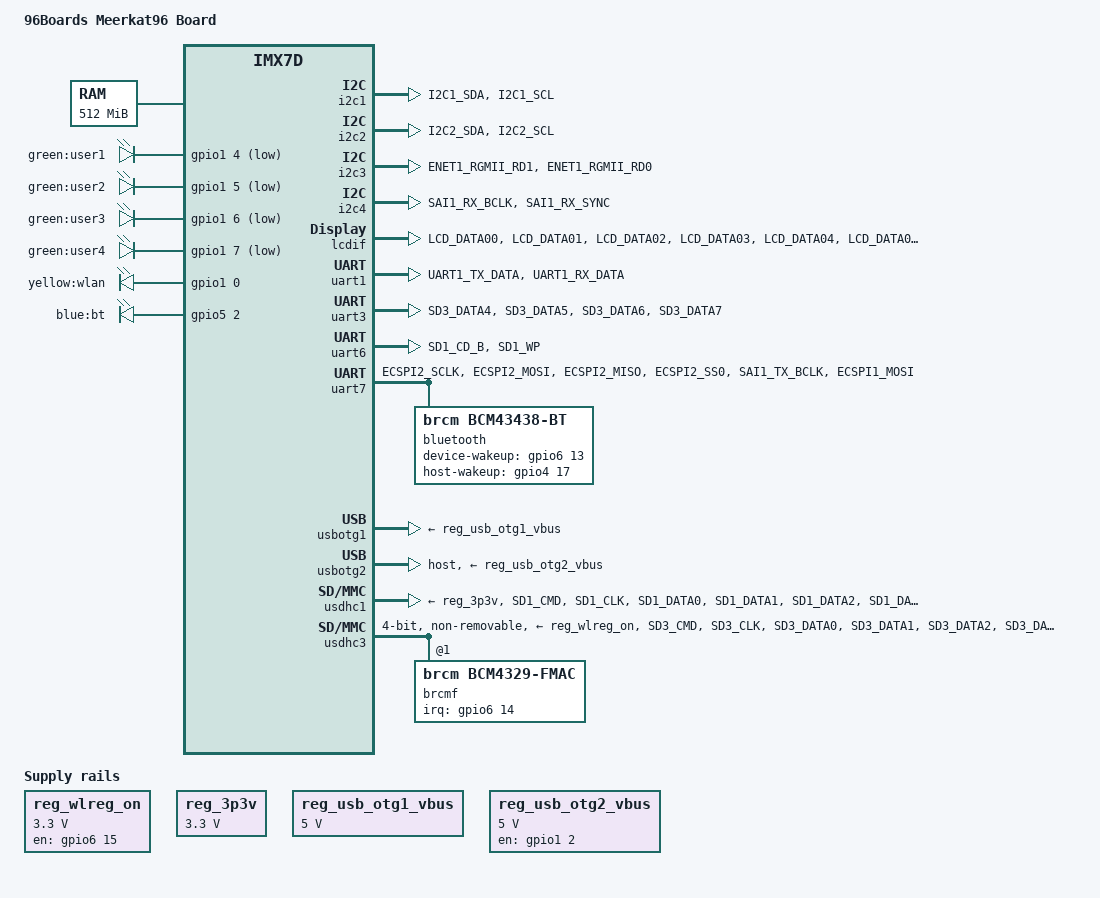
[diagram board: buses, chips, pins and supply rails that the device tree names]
// SPDX-License-Identifier: GPL-2.0+ OR MIT
/*
 * Copyright (C) 2019 Linaro Ltd.
 */

/dts-v1/;

#include "imx7d.dtsi"

/ {
	model = "96Boards Meerkat96 Board";
	compatible = "novtech,imx7d-meerkat96", "fsl,imx7d";

	chosen {
		stdout-path = &uart6;
	};

	memory@80000000 {
		device_type = "memory";
		reg = <0x80000000 0x20000000>; /* 512MB */
	};

	reg_wlreg_on: regulator-wlreg-on {
		compatible = "regulator-fixed";
		pinctrl-names = "default";
		pinctrl-0 = <&pinctrl_wlreg_on>;
		regulator-name = "wlreg_on";
		regulator-min-microvolt = <3300000>;
		regulator-max-microvolt = <3300000>;
		startup-delay-us = <100>;
		gpio = <&gpio6 15 GPIO_ACTIVE_HIGH>;
		enable-active-high;
		regulator-always-on;
	};

	reg_3p3v: regulator-3p3v {
		compatible = "regulator-fixed";
		regulator-name = "3P3V";
		regulator-min-microvolt = <3300000>;
		regulator-max-microvolt = <3300000>;
		regulator-always-on;
	};

	reg_usb_otg1_vbus: regulator-usb-otg1-vbus {
		compatible = "regulator-fixed";
		regulator-name = "usb_otg1_vbus";
		regulator-min-microvolt = <5000000>;
		regulator-max-microvolt = <5000000>;
	};

	reg_usb_otg2_vbus: regulator-usb-otg2-vbus {
		compatible = "regulator-fixed";
		regulator-name = "usb_otg2_vbus";
		regulator-min-microvolt = <5000000>;
		regulator-max-microvolt = <5000000>;
		gpio = <&gpio1 2 GPIO_ACTIVE_HIGH>;
		enable-active-high;
	};

	leds {
		compatible = "gpio-leds";
		pinctrl-names = "default";
		pinctrl-0 = <&pinctrl_gpio_leds>;

		led1 {
			label = "green:user1";
			gpios = <&gpio1 4 GPIO_ACTIVE_LOW>;
			linux,default-trigger = "heartbeat";
			default-state = "off";
		};

		led2 {
			label = "green:user2";
			gpios = <&gpio1 5 GPIO_ACTIVE_LOW>;
			linux,default-trigger = "mmc0";
			default-state = "off";
		};

		led3 {
			label = "green:user3";
			gpios = <&gpio1 6 GPIO_ACTIVE_LOW>;
			linux,default-trigger = "mmc1";
			default-state = "off";
		};

		led4 {
			label = "green:user4";
			gpios = <&gpio1 7 GPIO_ACTIVE_LOW>;
			linux,default-trigger = "none";
			default-state = "off";
			panic-indicator;
		};

		led5 {
			label = "yellow:wlan";
			gpios = <&gpio1 0 GPIO_ACTIVE_HIGH>;
			linux,default-trigger = "phy0tx";
			default-state = "off";
		};

		led6 {
			label = "blue:bt";
			gpios = <&gpio5 2 GPIO_ACTIVE_HIGH>;
			linux,default-trigger = "bluetooth-power";
			default-state = "off";
		};
	};
};

&i2c1 {
	pinctrl-names = "default";
	pinctrl-0 = <&pinctrl_i2c1>;
	status = "okay";
};

&i2c2 {
	pinctrl-names = "default";
	pinctrl-0 = <&pinctrl_i2c2>;
	status = "okay";
};

&i2c3 {
	pinctrl-names = "default";
	pinctrl-0 = <&pinctrl_i2c3>;
	status = "okay";
};

&i2c4 {
	pinctrl-names = "default";
	pinctrl-0 = <&pinctrl_i2c4>;
	status = "okay";
};

&lcdif {
	pinctrl-names = "default";
	pinctrl-0 = <&pinctrl_lcdif>;
	status = "okay";
};

&uart1 {
	pinctrl-names = "default";
	pinctrl-0 = <&pinctrl_uart1>;
	assigned-clocks = <&clks IMX7D_UART1_ROOT_SRC>;
	assigned-clock-parents = <&clks IMX7D_PLL_SYS_MAIN_240M_CLK>;
	status = "okay";
};

&uart3 {
	pinctrl-names = "default";
	pinctrl-0 = <&pinctrl_uart3>;
	assigned-clocks = <&clks IMX7D_UART3_ROOT_SRC>;
	assigned-clock-parents = <&clks IMX7D_PLL_SYS_MAIN_240M_CLK>;
	uart-has-rtscts;
	status = "okay";
};

&uart6 {
	pinctrl-names = "default";
	pinctrl-0 = <&pinctrl_uart6>;
	assigned-clocks = <&clks IMX7D_UART6_ROOT_SRC>;
	assigned-clock-parents = <&clks IMX7D_PLL_SYS_MAIN_240M_CLK>;
	status = "okay";
};

&uart7 {
	pinctrl-names = "default";
	pinctrl-0 = <&pinctrl_uart7 &pinctrl_bt_gpios>;
	assigned-clocks = <&clks IMX7D_UART7_ROOT_SRC>;
	assigned-clock-parents = <&clks IMX7D_PLL_SYS_MAIN_240M_CLK>;
	uart-has-rtscts;
	fsl,dte-mode;
	status = "okay";

	bluetooth {
		compatible = "brcm,bcm43438-bt";
		device-wakeup-gpios = <&gpio6 13 GPIO_ACTIVE_HIGH>;
		host-wakeup-gpios = <&gpio4 17 GPIO_ACTIVE_HIGH>;
	};
};

&usbotg1 {
	vbus-supply = <&reg_usb_otg1_vbus>;
	status = "okay";
};

&usbotg2 {
	vbus-supply = <&reg_usb_otg2_vbus>;
	dr_mode = "host";
	status = "okay";
};

&usdhc1 {
	pinctrl-names = "default";
	pinctrl-0 = <&pinctrl_usdhc1>;
	keep-power-in-suspend;
	tuning-step = <2>;
	vmmc-supply = <&reg_3p3v>;
	no-1-8-v;
	broken-cd;
	status = "okay";
};

&usdhc3 {
	#address-cells = <1>;
	#size-cells = <0>;
	pinctrl-names = "default";
	pinctrl-0 = <&pinctrl_usdhc3>;
	bus-width = <4>;
	no-1-8-v;
	no-mmc;
	non-removable;
	keep-power-in-suspend;
	wakeup-source;
	vmmc-supply = <&reg_wlreg_on>;
	vqmmc-supply =<&reg_3p3v>;
	status = "okay";

	brcmf: wifi@1 {
		reg = <1>;
		compatible = "brcm,bcm4329-fmac";
		pinctrl-names = "default";
		pinctrl-0 = <&pinctrl_wlan_irq>;
		interrupt-parent = <&gpio6>;
		interrupts = <14 IRQ_TYPE_LEVEL_HIGH>;
		interrupt-names = "host-wake";
	};
};

&iomuxc {
	pinctrl_bt_gpios: btgpiosgrp {
		fsl,pins = <
			MX7D_PAD_SAI1_TX_BCLK__GPIO6_IO13	0x59
			MX7D_PAD_ECSPI1_MOSI__GPIO4_IO17	0x1f
		>;
	};

	pinctrl_gpio_leds: gpioledsgrp {
		fsl,pins = <
			MX7D_PAD_LPSR_GPIO1_IO00__GPIO1_IO0	0x59
			MX7D_PAD_LPSR_GPIO1_IO04__GPIO1_IO4	0x59
			MX7D_PAD_LPSR_GPIO1_IO05__GPIO1_IO5	0x59
			MX7D_PAD_LPSR_GPIO1_IO06__GPIO1_IO6	0x59
			MX7D_PAD_LPSR_GPIO1_IO07__GPIO1_IO7	0x59
			MX7D_PAD_SD1_RESET_B__GPIO5_IO2		0x59
		>;
	};

	pinctrl_i2c1: i2c1grp {
		fsl,pins = <
			MX7D_PAD_I2C1_SDA__I2C1_SDA		0x4000007f
			MX7D_PAD_I2C1_SCL__I2C1_SCL		0x4000007f
		>;
	};

	pinctrl_i2c2: i2c2grp {
		fsl,pins = <
			MX7D_PAD_I2C2_SDA__I2C2_SDA		0x4000007f
			MX7D_PAD_I2C2_SCL__I2C2_SCL		0x4000007f
		>;
	};

	pinctrl_i2c3: i2c3grp {
		fsl,pins = <
			MX7D_PAD_ENET1_RGMII_RD1__I2C3_SDA	0x4000007f
			MX7D_PAD_ENET1_RGMII_RD0__I2C3_SCL	0x4000007f
		>;
	};

	pinctrl_i2c4: i2c4grp {
		fsl,pins = <
			MX7D_PAD_SAI1_RX_BCLK__I2C4_SDA		0x4000007f
			MX7D_PAD_SAI1_RX_SYNC__I2C4_SCL		0x4000007f
		>;
	};

	pinctrl_lcdif: lcdifgrp {
		fsl,pins = <
			MX7D_PAD_LCD_DATA00__LCD_DATA0		0x79
			MX7D_PAD_LCD_DATA01__LCD_DATA1		0x79
			MX7D_PAD_LCD_DATA02__LCD_DATA2		0x79
			MX7D_PAD_LCD_DATA03__LCD_DATA3		0x79
			MX7D_PAD_LCD_DATA04__LCD_DATA4		0x79
			MX7D_PAD_LCD_DATA05__LCD_DATA5		0x79
			MX7D_PAD_LCD_DATA06__LCD_DATA6		0x79
			MX7D_PAD_LCD_DATA07__LCD_DATA7		0x79
			MX7D_PAD_LCD_DATA08__LCD_DATA8		0x79
			MX7D_PAD_LCD_DATA09__LCD_DATA9		0x79
			MX7D_PAD_LCD_DATA10__LCD_DATA10		0x79
			MX7D_PAD_LCD_DATA11__LCD_DATA11		0x79
			MX7D_PAD_LCD_DATA12__LCD_DATA12		0x79
			MX7D_PAD_LCD_DATA13__LCD_DATA13		0x79
			MX7D_PAD_LCD_DATA14__LCD_DATA14		0x79
			MX7D_PAD_LCD_DATA15__LCD_DATA15		0x79
			MX7D_PAD_LCD_DATA16__LCD_DATA16		0x79
			MX7D_PAD_LCD_DATA17__LCD_DATA17		0x79
			MX7D_PAD_LCD_DATA18__LCD_DATA18		0x79
			MX7D_PAD_LCD_DATA19__LCD_DATA19		0x79
			MX7D_PAD_LCD_DATA20__LCD_DATA20		0x79
			MX7D_PAD_LCD_DATA21__LCD_DATA21		0x79
			MX7D_PAD_LCD_DATA22__LCD_DATA22		0x79
			MX7D_PAD_LCD_DATA23__LCD_DATA23		0x79
			MX7D_PAD_LCD_CLK__LCD_CLK		0x79
			MX7D_PAD_LCD_ENABLE__LCD_ENABLE		0x79
			MX7D_PAD_LCD_VSYNC__LCD_VSYNC		0x79
			MX7D_PAD_LCD_HSYNC__LCD_HSYNC		0x79
			MX7D_PAD_LCD_RESET__LCD_RESET		0x79
		>;
	};

	pinctrl_uart1: uart1grp {
		fsl,pins = <
			MX7D_PAD_UART1_TX_DATA__UART1_DCE_TX	0x79
			MX7D_PAD_UART1_RX_DATA__UART1_DCE_RX	0x79
		>;
	};

	pinctrl_uart3: uart3grp {
		fsl,pins = <
			MX7D_PAD_SD3_DATA4__UART3_DCE_RX	0x79
			MX7D_PAD_SD3_DATA5__UART3_DCE_TX	0x79
			MX7D_PAD_SD3_DATA6__UART3_DCE_RTS	0x79
			MX7D_PAD_SD3_DATA7__UART3_DCE_CTS	0x79
		>;
	};

	pinctrl_uart6: uart6grp {
		fsl,pins = <
			MX7D_PAD_SD1_CD_B__UART6_DCE_RX		0x79
			MX7D_PAD_SD1_WP__UART6_DCE_TX		0x79
		>;
	};

	pinctrl_uart7: uart7grp {
		fsl,pins = <
			MX7D_PAD_ECSPI2_SCLK__UART7_DTE_TX	0x79
			MX7D_PAD_ECSPI2_MOSI__UART7_DTE_RX	0x79
			MX7D_PAD_ECSPI2_MISO__UART7_DTE_CTS	0x79
			MX7D_PAD_ECSPI2_SS0__UART7_DTE_RTS	0x79
		>;
	};

	pinctrl_usdhc1: usdhc1grp {
		fsl,pins = <
			MX7D_PAD_SD1_CMD__SD1_CMD		0x59
			MX7D_PAD_SD1_CLK__SD1_CLK		0x19
			MX7D_PAD_SD1_DATA0__SD1_DATA0		0x59
			MX7D_PAD_SD1_DATA1__SD1_DATA1		0x59
			MX7D_PAD_SD1_DATA2__SD1_DATA2		0x59
			MX7D_PAD_SD1_DATA3__SD1_DATA3		0x59
		>;
	};

	pinctrl_usdhc3: usdhc3grp {
		fsl,pins = <
			MX7D_PAD_SD3_CMD__SD3_CMD		0x59
			MX7D_PAD_SD3_CLK__SD3_CLK		0x0D
			MX7D_PAD_SD3_DATA0__SD3_DATA0		0x59
			MX7D_PAD_SD3_DATA1__SD3_DATA1		0x59
			MX7D_PAD_SD3_DATA2__SD3_DATA2		0x59
			MX7D_PAD_SD3_DATA3__SD3_DATA3		0x59
		>;
	};

	pinctrl_wlan_irq: wlanirqgrp {
		fsl,pins = <
			MX7D_PAD_SAI1_TX_SYNC__GPIO6_IO14	0x19
		>;
	};

	pinctrl_wlreg_on: wlregongrp {
		fsl,pins = <
			MX7D_PAD_SAI1_TX_DATA__GPIO6_IO15	0x19
		>;
	};
};
